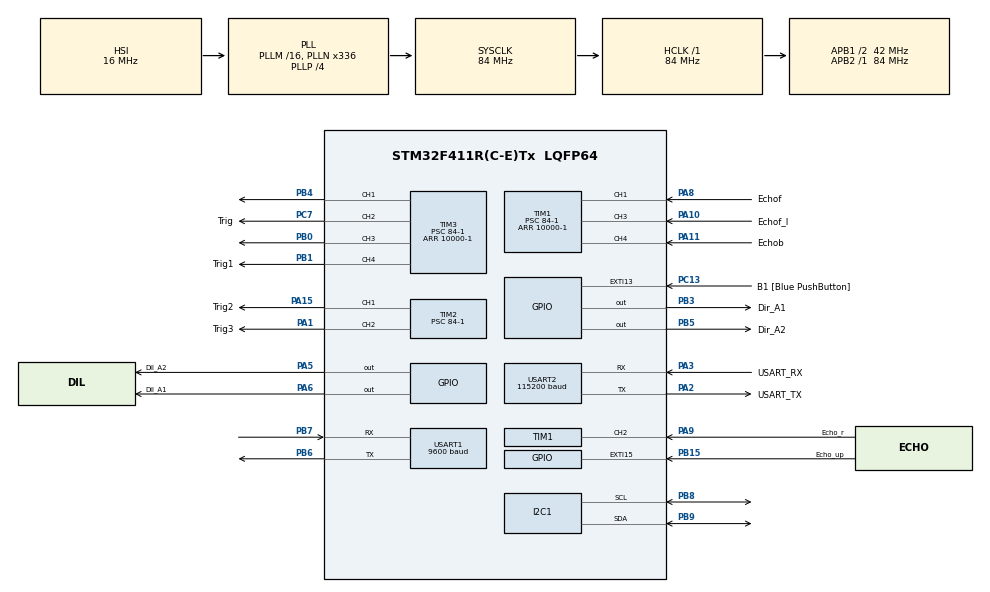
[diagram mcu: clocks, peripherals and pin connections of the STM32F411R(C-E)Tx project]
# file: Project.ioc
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Mcu.Family=STM32F4
Mcu.Name=STM32F411R(C-E)Tx
Mcu.Package=LQFP64
NVIC.EXTI15_10_IRQn=true\:0\:0\:false\:false\:true\:true\:true\:true
NVIC.PriorityGroup=NVIC_PRIORITYGROUP_0
NVIC.TIM1_CC_IRQn=true\:0\:0\:false\:false\:true\:true\:true\:true
NVIC.USART1_IRQn=true\:0\:0\:false\:false\:true\:true\:true\:true
NVIC.USART2_IRQn=true\:0\:0\:false\:false\:true\:true\:true\:true
PA1.GPIO_Label=Trig3
PA1.Signal=S_TIM2_CH2
PA10.GPIO_Label=Echof_l
PA10.Signal=S_TIM1_CH3
PA11.GPIO_Label=Echob
PA11.Signal=S_TIM1_CH4
PA13.GPIO_Label=TMS
PA13.Mode=Serial_Wire
PA13.Signal=SYS_JTMS-SWDIO
PA14.GPIO_Label=TCK
PA14.Mode=Serial_Wire
PA14.Signal=SYS_JTCK-SWCLK
PA15.GPIO_Label=Trig2
PA15.Signal=S_TIM2_CH1_ETR
PA2.GPIO_Label=USART_TX
PA2.Mode=Asynchronous
PA2.Signal=USART2_TX
PA3.GPIO_Label=USART_RX
PA3.Mode=Asynchronous
PA3.Signal=USART2_RX
PA5.GPIO_Label=Dil_A2
PA5.Signal=GPIO_Output
PA6.GPIO_Label=Dil_A1
PA6.Signal=GPIO_Output
PA8.GPIO_Label=Echof
PA8.GPIO_PuPd=GPIO_NOPULL
PA8.Signal=S_TIM1_CH1
PA9.GPIO_Label=Echo_r
PA9.Signal=S_TIM1_CH2
PB0.Signal=S_TIM3_CH3
PB1.GPIO_Label=Trig1
PB1.Signal=S_TIM3_CH4
PB15.GPIO_Label=Echo_up
PB15.Signal=GPXTI15
PB3.GPIO_Label=Dir_A1
PB3.Signal=GPIO_Output
PB4.Signal=S_TIM3_CH1
PB5.GPIO_Label=Dir_A2
PB5.Signal=GPIO_Output
PB6.Mode=Asynchronous
PB6.Signal=USART1_TX
PB7.Mode=Asynchronous
PB7.Signal=USART1_RX
PB8.Mode=I2C
PB8.Signal=I2C1_SCL
PB9.Mode=I2C
PB9.Signal=I2C1_SDA
PC13-ANTI_TAMP.GPIO_Label=B1 [Blue PushButton]
PC13-ANTI_TAMP.GPIO_ModeDefaultEXTI=GPIO_MODE_IT_FALLING
PC13-ANTI_TAMP.Signal=GPXTI13
PC14-OSC32_IN.Mode=LSE-External-Oscillator
PC14-OSC32_IN.Signal=RCC_OSC32_IN
PC15-OSC32_OUT.Mode=LSE-External-Oscillator
PC15-OSC32_OUT.Signal=RCC_OSC32_OUT
PC7.GPIO_Label=Trig
PC7.Signal=S_TIM3_CH2
PH0\ -\ OSC_IN.Mode=HSE-External-Clock-Source
PH0\ -\ OSC_IN.Signal=RCC_OSC_IN
PH1\ -\ OSC_OUT.Mode=HSE-External-Clock-Source
PH1\ -\ OSC_OUT.Signal=RCC_OSC_OUT
ProjectManager.HeapSize=0x200
ProjectManager.StackSize=0x400
ProjectManager.TargetToolchain=STM32CubeIDE
RCC.48MHZClocksFreq_Value=84000000
RCC.AHBFreq_Value=84000000
RCC.APB1CLKDivider=RCC_HCLK_DIV2
RCC.APB1Freq_Value=42000000
RCC.APB1TimFreq_Value=84000000
RCC.APB2Freq_Value=84000000
RCC.APB2TimFreq_Value=84000000
RCC.CortexFreq_Value=84000000
RCC.FLatency-AdvancedSettings=FLASH_LATENCY_2
RCC.HCLKFreq_Value=84000000
RCC.HSE_VALUE=8000000
RCC.HSI_VALUE=16000000
RCC.PLLN=336
RCC.PLLP=RCC_PLLP_DIV4
RCC.SYSCLKFreq_VALUE=84000000
RCC.SYSCLKSource=RCC_SYSCLKSOURCE_PLLCLK
RCC.VCOOutputFreq_Value=336000000
SH.S_TIM1_CH1.0=TIM1_CH1,Input_Capture1_from_TI1
SH.S_TIM1_CH2.0=TIM1_CH2,Input_Capture2_from_TI2
SH.S_TIM1_CH3.0=TIM1_CH3,Input_Capture3_from_TI3
SH.S_TIM1_CH4.0=TIM1_CH4,Input_Capture4_from_TI4
SH.S_TIM2_CH1_ETR.0=TIM2_CH1,PWM Generation1 CH1
SH.S_TIM2_CH2.0=TIM2_CH2,PWM Generation2 CH2
SH.S_TIM3_CH1.0=TIM3_CH1,PWM Generation1 CH1
SH.S_TIM3_CH2.0=TIM3_CH2,PWM Generation2 CH2
SH.S_TIM3_CH3.0=TIM3_CH3,PWM Generation3 CH3
SH.S_TIM3_CH4.0=TIM3_CH4,PWM Generation4 CH4
TIM1.Channel-Input_Capture1_from_TI1=TIM_CHANNEL_1
TIM1.Channel-Input_Capture2_from_TI2=TIM_CHANNEL_2
TIM1.Channel-Input_Capture3_from_TI3=TIM_CHANNEL_3
TIM1.Channel-Input_Capture4_from_TI4=TIM_CHANNEL_4
TIM1.ICPolarity_CH1=TIM_INPUTCHANNELPOLARITY_BOTHEDGE
TIM1.ICPolarity_CH2=TIM_INPUTCHANNELPOLARITY_BOTHEDGE
TIM1.ICPolarity_CH3=TIM_INPUTCHANNELPOLARITY_BOTHEDGE
TIM1.ICPolarity_CH4=TIM_INPUTCHANNELPOLARITY_BOTHEDGE
TIM1.Period=10000-1
TIM1.Prescaler=84-1
TIM2.Channel-PWM\ Generation1\ CH1=TIM_CHANNEL_1
TIM2.Channel-PWM\ Generation2\ CH2=TIM_CHANNEL_2
TIM2.Period=10000-1
TIM2.Prescaler=84-1
TIM2.Pulse-PWM\ Generation1\ CH1=10
TIM2.Pulse-PWM\ Generation2\ CH2=10
TIM3.Channel-PWM\ Generation1\ CH1=TIM_CHANNEL_1
TIM3.Channel-PWM\ Generation2\ CH2=TIM_CHANNEL_2
TIM3.Channel-PWM\ Generation3\ CH3=TIM_CHANNEL_3
TIM3.Channel-PWM\ Generation4\ CH4=TIM_CHANNEL_4
TIM3.Period=10000-1
TIM3.Prescaler=84-1
TIM3.Pulse-PWM\ Generation2\ CH2=10
TIM3.Pulse-PWM\ Generation4\ CH4=10
USART1.BaudRate=9600
USART1.VirtualMode=VM_ASYNC
USART2.BaudRate=115200
USART2.VirtualMode=VM_ASYNC
VP_TIM1_VS_ClockSourceINT.Mode=Internal
VP_TIM2_VS_ClockSourceINT.Mode=Internal
VP_TIM3_VS_ClockSourceINT.Mode=Internal
board=NUCLEO-F411RE

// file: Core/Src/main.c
/* USER CODE BEGIN Header */
/**
  ******************************************************************************
  * @file           : main.c
  * @brief          : Main program body
  ******************************************************************************
  * @attention
  *
  * Copyright (c) 2025 STMicroelectronics.
  * All rights reserved.
  *
  * This software is licensed under terms that can be found in the LICENSE file
  * in the root directory of this software component.
  * If no LICENSE file comes with this software, it is provided AS-IS.
  *
  ******************************************************************************
  */
/* USER CODE END Header */
#include "main.h"

/* USER CODE BEGIN Includes */
//#include <string.h>
//#include <stdlib.h>
/* USER CODE END Includes */

I2C_HandleTypeDef hi2c1;

TIM_HandleTypeDef htim1;
TIM_HandleTypeDef htim2;
TIM_HandleTypeDef htim3;

UART_HandleTypeDef huart1;
UART_HandleTypeDef huart2;

void SystemClock_Config(void);
static void MX_GPIO_Init(void);
static void MX_USART2_UART_Init(void);
static void MX_USART1_UART_Init(void);
static void MX_I2C1_Init(void);
static void MX_TIM1_Init(void);
static void MX_TIM2_Init(void);
static void MX_TIM3_Init(void);

/* USER CODE BEGIN 0 */

//uSonic INTR----------------------------------------------------------------------------------
//int f_1 = 0 , f_2 = 0, f_r1 =0 , f_r2 = 0, f_l1 =0 , f_l2 = 0;
//int b_1 = 0 , b_2 = 0, b_r1 =0 , b_r2 = 0, b_l1 =0 , b_l2 = 0;
//double dist = 0.0, f_rdist = 0.0, f_ldist = 0.0;
//double b_dist = 0.0, stop_dist = 0.0;

uint32_t f_1 = 0, f_2 = 0, f_r1 = 0, f_r2 = 0, f_l1 = 0, f_l2 = 0;
uint32_t b_1 = 0, b_2 = 0, b_r1 = 0, b_r2 = 0, b_l1 = 0, b_l2 = 0;
double dist = 0.0, f_rdist = 0.0, f_ldist = 0.0;
double b_dist = 0.0, b_rdist = 0.0, b_ldist = 0.0;

// 명령 종류 ?���????
typedef enum {
    CMD_NONE,
    CMD_FORWARD,
    CMD_RIGHT,
    CMD_BACKWARD,
    CMD_LEFT
} CommandType;

#define BUF_SIZE 100
#define CMD_QUEUE_SIZE    5
#define SAFE_DISTANCE 10.0

char dum1, dum2;
char buf1[BUF_SIZE], buf2[BUF_SIZE]; // DMA buffer for UART1, UART2

volatile int t1 = 0, t2 = 0;
volatile CommandType currentCommand = CMD_NONE;
volatile uint8_t commandActive = 0;
volatile uint8_t commandStep = 0;
volatile uint32_t commandStartTime = 0;
volatile uint8_t mode = 255; // 255: 미설?��, 1: ?��?��주행, 0: ?���???? 주행
volatile uint8_t onOff = 0;  // 0: OFF, 1: ON

// 🛠 TIM Input Capture 시작 함수 (초음파 센서 측정 시작)
void Start_Ultrasonic_Measurement() {
    HAL_TIM_IC_Start_IT(&htim1, TIM_CHANNEL_1);  // 전방 센서
    HAL_TIM_IC_Start_IT(&htim1, TIM_CHANNEL_2);  // 전방 우측 센서
    HAL_TIM_IC_Start_IT(&htim1, TIM_CHANNEL_3);  // 전방 좌측 센서
    HAL_TIM_IC_Start_IT(&htim1, TIM_CHANNEL_4);  // 후방 센서
}

void ultrasonic_trigger_setup() {
    HAL_TIM_PWM_Start(&htim3, TIM_CHANNEL_2); // 전방 센서 // Trig
    HAL_TIM_PWM_Start(&htim3, TIM_CHANNEL_4); // 전방 우측 센서 // Trig2
    HAL_TIM_PWM_Start(&htim2, TIM_CHANNEL_2); // 전방 좌측 센서 // Trig3
    HAL_TIM_PWM_Start(&htim2, TIM_CHANNEL_1); // 후방 센서 // Trig1
}

//// 🚗 자율 주행 제어 함수
//void auto_drive() {
//    if (dist > SAFE_DISTANCE && f_rdist > SAFE_DISTANCE && f_ldist > SAFE_DISTANCE) {
//        motor_forward();
//    }
//    else if (dist <= SAFE_DISTANCE) {
//        motor_stop(); // 정지
//        if (f_rdist > f_ldist) {
//            motor_right();
//        } else {
//            motor_left();
//        }
//    }
//}

int stuck_counter = 0;

    void auto_motor(){
        float lane_width = f_rdist + f_ldist; // 현재 도로 폭 계산

        if (dist < 10.0 && f_rdist < 10.0 && f_ldist < 10.0) {
            stuck_counter++;

            if (stuck_counter > 2) {
                // 🚗 **후진 후 90도 회전**
                motor_backward();
                HAL_Delay(300);

                if (f_rdist > f_ldist) {
                    motor_right(); // 90도 회전
                } else {
                    motor_left(); // 90도 회전
                }
                HAL_Delay(200);

                // 🚗 **90도 회전 후 일정 거리 전진하여 같은 위치로 돌아가지 않음**
                motor_forward();
                HAL_Delay(300);

                stuck_counter = 0; // 탈출 후 카운터 리셋
            }
        }

        if(mode == 0)
        {
        	commandActive = 0;
        	currentCommand = CMD_NONE;
        }
        if (dist < 10.0) {
            // 장애물 감지 → 후진 후 좌우 비교하여 회피
            motor_backward();
            HAL_Delay(300);

            if (f_rdist > f_ldist) {
                motor_right();
            } else {
                motor_left();
            }
            HAL_Delay(200);

        } else if (dist < 15.0) {
            // 장애물 10~15cm → 더 넓은 쪽으로 회피
            if (f_rdist > f_ldist) {
                motor_right();
            } else {
                motor_left();
            }
            HAL_Delay(200);

        } else {
            // 🚗 **중앙 유지 주행 로직**
            float balance = f_rdist - f_ldist; // 좌우 차이 계산

            if (lane_width < 37.0) {
                // 좁은 구간 (35cm 근처)
                if (balance > 5.0) {
                    motor_right();
                } else if (balance < -5.0) {
                    motor_left();
                } else {
                    motor_forward();
                }
                HAL_Delay(100);

            } else if (lane_width > 43.0) {
                // 넓은 구간 (45cm 근처)
                if (balance > 8.0) {
                    motor_right();
                } else if (balance < -8.0) {
                    motor_left();
                } else {
                    motor_forward();
                }
                HAL_Delay(100);
            } else {
                motor_forward();
            }
        }
        HAL_Delay(100);
    }

void HAL_TIM_IC_CaptureCallback(TIM_HandleTypeDef *htim) {
    if (htim->Instance == TIM1) {  // TIM1 사용
        switch (htim->Channel) {
            case HAL_TIM_ACTIVE_CHANNEL_1:  // 전방 초음파 센서
                if (HAL_GPIO_ReadPin(Echof_GPIO_Port, Echof_Pin) == GPIO_PIN_SET) {
                    f_1 = HAL_TIM_ReadCapturedValue(htim, TIM_CHANNEL_1);
                } else {
                    f_2 = HAL_TIM_ReadCapturedValue(htim, TIM_CHANNEL_1);
                    dist = (f_2 - f_1) * 0.017;
                }
                break;
            case HAL_TIM_ACTIVE_CHANNEL_2:  // 전방 우측 초음파 센서
                if (HAL_GPIO_ReadPin(Echo_r_GPIO_Port, Echo_r_Pin) == GPIO_PIN_SET) {
                    f_r1 = HAL_TIM_ReadCapturedValue(htim, TIM_CHANNEL_2);
                } else {
                    f_r2 = HAL_TIM_ReadCapturedValue(htim, TIM_CHANNEL_2);
                    f_rdist = (f_r2 - f_r1) * 0.017;
                }
                break;
            case HAL_TIM_ACTIVE_CHANNEL_3:  // 전방 좌측 초음파 센서
                if (HAL_GPIO_ReadPin(Echof_l_GPIO_Port, Echof_l_Pin) == GPIO_PIN_SET) {
                    f_l1 = HAL_TIM_ReadCapturedValue(htim, TIM_CHANNEL_3);
                } else {
                    f_l2 = HAL_TIM_ReadCapturedValue(htim, TIM_CHANNEL_3);
                    f_ldist = (f_l2 - f_l1) * 0.017;
                }
                break;
            case HAL_TIM_ACTIVE_CHANNEL_4:  // 후방 초음파 센서
                if (HAL_GPIO_ReadPin(Echob_GPIO_Port, Echob_Pin) == GPIO_PIN_SET) {
                    b_1 = HAL_TIM_ReadCapturedValue(htim, TIM_CHANNEL_4);
                } else {
                    b_2 = HAL_TIM_ReadCapturedValue(htim, TIM_CHANNEL_4);
                    b_dist = (b_2 - b_1) * 0.017;
                }
                break;
        }
    }
}

//void HAL_GPIO_EXTI_Callback(uint16_t GPIO_Pin)
//{
//    switch (GPIO_Pin)
//    {
//        case Echof_Pin:
//            if (HAL_GPIO_ReadPin(Echof_GPIO_Port, Echof_Pin) == 1)
//            {
//                f_1 = htim2.Instance->CNT;
//            }
//            else // Falling Edge
//            {
//                f_2 = htim2.Instance->CNT;
//                dist = (f_2 - f_1) * 0.17;
//                if (dist > 2000) dist = 1800;
//            }
//            break;
//
//        case Echof_r_Pin:
//            if (HAL_GPIO_ReadPin(Echof_r_GPIO_Port, Echof_r_Pin) == 1)
//            {
//                f_r1 = htim2.Instance->CNT;
//            }
//            else // Falling Edge
//            {
//                f_r2 = htim2.Instance->CNT;
//                f_rdist = (f_r2 - f_r1) * 0.17;
//                if (f_rdist > 2000) dist = 1800;
//            }
//            break;
//
//        case Echof_l_Pin:
//            if (HAL_GPIO_ReadPin(Echof_l_GPIO_Port, Echof_l_Pin) == 1)
//            {
//               f_l1 = htim2.Instance->CNT;
//            }
//            else
//            {
//               f_l2 = htim2.Instance->CNT;
//               f_ldist = (f_l2 - f_l1) * 0.17;
//               if (f_ldist > 2000) dist = 1800;
//            }
//            break;
//        case Echob_Pin:
//            if (HAL_GPIO_ReadPin(Echob_GPIO_Port, Echob_Pin) == 1)
//            {
//                b_1 = htim2.Instance->CNT;
//            }
//            else // Falling Edge
//            {
//                b_2 = htim2.Instance->CNT;
//                b_dist = (b_2 - b_1) * 0.17;
//                if (b_dist > 2000) dist = 1800;
//            }
//            break;
//
//        case Echo_up_Pin:
//            if (HAL_GPIO_ReadPin(Echo_up_GPIO_Port, Echo_up_Pin) == 1)
//            {
//                b_l1 = htim2.Instance->CNT;
//            }
//            else
//            {
//                b_l2 = htim2.Instance->CNT;
//                stop_dist = (b_l2 - b_l1) * 0.17;
//                if (stop_dist > 2000) dist = 1800;
//            }
//            break;
//
//       default:
//           break;
//    }
//}
//------------------------------------------------------------------------------------------------------------

// 명령 큐 (원형 큐)
char cmdQueue[CMD_QUEUE_SIZE][BUF_SIZE];
volatile int queueHead = 0, queueTail = 0, queueCount = 0;

// 큐에 명령 추가 (인터럽트 문맥)
void EnqueueCommand(const char* cmd)
{
    if(queueCount < CMD_QUEUE_SIZE)
    {
        strcpy(cmdQueue[queueTail], cmd);
        queueTail = (queueTail + 1) % CMD_QUEUE_SIZE;
        queueCount++;
    }
    // 큐가 꽉 찼을 경우 예외 처리 필요
}

// 큐에서 명령 꺼내기 (메인 루프에서 호출)
int DequeueCommand(char* dest)
{
    if(queueCount > 0)
    {
        strcpy(dest, cmdQueue[queueHead]);
        queueHead = (queueHead + 1) % CMD_QUEUE_SIZE;
        queueCount--;
        return 1;
    }
    return 0;
}

// LCD에 항상 모드 표시
void LCD_UpdateModeStatus(void) {
    LCD_command(0xC0); // LCD의 두 번째 줄
    if (mode == 255) {
        LCD_Print("[Harman]Semicon ");
    } else if (mode == 1) {
        LCD_Print("Mode: Auto      ");
    } else {
        LCD_Print("Mode: Manual    ");
    }
}

// 문자열 앞뒤 공백 제거 함수
char *Trim(const char *s)
{
    while (*s == ' ' || *s == '\t' || *s == '\r' || *s == '\n') s++;
    int tail = strlen(s);
    while (tail > 0 && (s[tail - 1] == ' ' || s[tail - 1] == '\t' || s[tail - 1] == '\r' || s[tail - 1] == '\n')) tail--;

    char *dest = (char *)malloc(tail + 1);
    if (!dest) return NULL;

    strncpy(dest, s, tail);
    dest[tail] = '\0';
    return dest;
}

// 블루투스 명령 처리 함수
void ProcessBluetoothCommand(char input) {
    if (input == 'C' || input == 'c') {
        mode = (input == 'C') ? 1 : 0;
        printf("Mode set to: %s\n\r", (mode == 1) ? "Auto" : "Manual");

        // 1번째 줄에 메시지 출력
//        LCD_Print_With_Clear((mode == 1) ? "Mode: Auto" : "Mode: Manual");
        // 2번째 줄에 현재 모드 유지
        LCD_UpdateModeStatus();
    }
    else if ((input == 'D' || input == 'd') && mode != 255) {
        onOff = (input == 'D') ? 1 : 0;
        printf("System %s\n\r", (onOff == 1) ? "ON" : "OFF");

        // 1번째 줄에 메시지 출력
        LCD_Print_With_Clear((onOff == 1) ? "System: ON" : "System: OFF");
        // 2번째 줄에 현재 모드 유지
        LCD_UpdateModeStatus();
    }
}

void ProcessCommand(char *cmd) {
    char *trimmed = Trim(cmd);
    if (!trimmed) return;
    // 자율주행 모드에서는 입력값을 그대로 사용(대문자 변환하지 않음)
    char *token = strtok(trimmed, "*");
    if(token) {
        if(strcmp(token, "1") == 0)      currentCommand = CMD_FORWARD;
        else if(strcmp(token, "2") == 0) currentCommand = CMD_RIGHT;
        else if(strcmp(token, "3") == 0) currentCommand = CMD_BACKWARD;
        else if(strcmp(token, "4") == 0) currentCommand = CMD_LEFT;
        else currentCommand = CMD_NONE;
    }
    if(currentCommand != CMD_NONE) {
        commandActive = 1;
        commandStep = 0;
        commandStartTime = HAL_GetTick();
    }
    free(trimmed);
}

// 수동 주행
void ManualDrive(char input) {
    if (mode == 0 && onOff == 1) {
        switch (input) {
            case '1':
                printf("Moving FORWARD\n\r");
                LCD_Print_With_Clear("Moving FORWARD");
                motor_forward();
                currentCommand = CMD_FORWARD;
                break;
            case '2':
                printf("Turning RIGHT\n\r");
                LCD_Print_With_Clear("Turning RIGHT");
                motor_right();
                currentCommand = CMD_RIGHT;
                break;
            case '3':
                printf("Moving BACKWARD\n\r");
                LCD_Print_With_Clear("Moving BACKWARD");
                motor_backward();
                currentCommand = CMD_BACKWARD;
                break;
            case '4':
                printf("Turning LEFT\n\r");
                LCD_Print_With_Clear("Turning LEFT");
                motor_left();
                currentCommand = CMD_LEFT;
                break;
            default:
                printf("Invalid manual command\n\r");
                LCD_Print_With_Clear("Invalid Command");
                motor_stop();
                return;
        }
        commandActive = 1;
        commandStartTime = HAL_GetTick();
    }
}

// UART 수신 완료 콜백 함수 (블루투스 명령 추가)
void HAL_UART_RxCpltCallback(UART_HandleTypeDef *huart)
{
    if (huart == &huart1) // Bluetooth UART
    {
        if (dum1 == 'C' || dum1 == 'c' || dum1 == 'D' || dum1 == 'd') {
            ProcessBluetoothCommand(dum1);
        }
        else if (dum1 == '1' || dum1 == '2' || dum1 == '3' || dum1 == '4') {
            ManualDrive(dum1);
        }
        else
        {
            buf1[t1] = dum1;
            if (dum1 == '0') // 명령 종료
            {
                buf1[t1 + 1] = '\0';
                if (onOff && mode == 1) // 자율주행 모드에서만 명령 처리
                {
                    EnqueueCommand(buf1);
                }
                t1 = 0;
            }
            else
            {
                t1++;
                if (t1 >= BUF_SIZE - 1) t1 = 0;
            }
        }

        HAL_UART_Receive_IT(&huart1, &dum1, 1);
    }
    else if (huart == &huart2) // 터미널 입력
    {
        buf2[t2] = dum2;
        HAL_UART_Transmit(&huart2, buf2 + t2, 1, 10);

        if (dum2 == '\r')
        {
            HAL_UART_Transmit(&huart2, "\n", 1, 10);
            buf2[t2 + 1] = '\n';
            HAL_UART_Transmit(&huart1, buf2, t2 + 2, 10);
            t2 = 0;
        }
        else
        {
            t2++;
            if (t2 >= BUF_SIZE - 1) t2 = 0;
        }f
        HAL_UART_Receive_IT(&huart2, &dum2, 1);
    }
}

// 상태 머신 함수: 각 명령별로 단계별 실행
void MAINCommand() {
    if (!commandActive) return;

    uint32_t elapsedTime = HAL_GetTick() - commandStartTime;

    switch (currentCommand) {
        case CMD_FORWARD:
            LCD_Print_With_Clear("Moving FORWARD");
            if (elapsedTime > 1000) {
                printf("Stop FORWARD\n\r");
                LCD_Print_With_Clear("Stop");
                motor_stop();
                commandActive = 0;
                currentCommand = CMD_NONE;
            }
            break;
        case CMD_RIGHT:S
            LCD_Print_With_Clear("Turning RIGHT");
            if (elapsedTime > 500) {
                printf("Stop RIGHT TURN\n\r");
                LCD_Print_With_Clear("Stop");
                motor_stop();
                commandActive = 0;
                currentCommand = CMD_NONE;
            }
            break;
        case CMD_BACKWARD:
            LCD_Print_With_Clear("Moving BACKWARD");
            if (elapsedTime > 1000) {
                printf("Stop BACKWARD\n\r");
                LCD_Print_With_Clear("Stop");
                motor_stop();
                commandActive = 0;
                currentCommand = CMD_NONE;
            }
            break;
        case CMD_LEFT:
            LCD_Print_With_Clear("Turning LEFT");
            if (elapsedTime > 500) {
                printf("Stop LEFT TURN\n\r");
                LCD_Print_With_Clear("Stop");
                motor_stop();
                commandActive = 0;
                currentCommand = CMD_NONE;
            }
            break;
        default:
            commandActive = 0;
            currentCommand = CMD_NONE;
            motor_stop();
            break;
    }
}

//ProgramStart("Timer - PWM : uSonic Trigger 10us control");
//HAL_TIM_Base_Start_IT(&htim2);
//HAL_TIM_PWM_Start(&htim1, TIM_CHANNEL_1); // PWM out

 int dr = 23, dr1 = 23, dr2 = 25, dr3 = 30;
 int dl = 23, dl1 = 23, dl2 = 25, dl3 = 30;

 void motor_forward() // forward
 {
      HAL_GPIO_WritePin(Dir_A1_GPIO_Port, Dir_A1_Pin, 0);
      HAL_GPIO_WritePin(Dir_A2_GPIO_Port, Dir_A2_Pin, 1);
      HAL_GPIO_WritePin(Dil_A1_GPIO_Port, Dil_A1_Pin, 0);
      HAL_GPIO_WritePin(Dil_A2_GPIO_Port, Dil_A2_Pin, 1);

      dr = 30;
      dl = 30;

      htim3.Instance->CCR3 = htim3.Instance->ARR * dl / 100;
     htim3.Instance->CCR1 = htim3.Instance->ARR * dr / 100;
  }

 void motor_backward() // backward
  {
	 //htim3.Instance->CCR1 = 0;

      HAL_GPIO_WritePin(Dir_A1_GPIO_Port, Dir_A1_Pin, 1);
      HAL_GPIO_WritePin(Dir_A2_GPIO_Port, Dir_A2_Pin, 0);
      HAL_GPIO_WritePin(Dil_A1_GPIO_Port, Dil_A1_Pin, 1);
      HAL_GPIO_WritePin(Dil_A2_GPIO_Port, Dil_A2_Pin, 0);

      dr = 30;
      dl = 30;

      htim3.Instance->CCR3 = htim3.Instance->ARR * dr / 100;
     htim3.Instance->CCR1 = htim3.Instance->ARR * dl / 100;
  }

  void motor_right() // right
  {
     HAL_GPIO_WritePin(Dir_A1_GPIO_Port, Dir_A1_Pin, 0);
     HAL_GPIO_WritePin(Dir_A2_GPIO_Port, Dir_A2_Pin, 1);
     HAL_GPIO_WritePin(Dil_A1_GPIO_Port, Dil_A1_Pin, 1);
     HAL_GPIO_WritePin(Dil_A2_GPIO_Port, Dil_A2_Pin, 0);

     dr = 40;
     dl = 20;

      htim3.Instance->CCR3 = htim3.Instance->ARR * dl / 100;
     htim3.Instance->CCR1 = htim3.Instance->ARR * dr / 100;

   //  HAL_Delay(500);
  }

  void motor_left() // left
  {
     HAL_GPIO_WritePin(Dir_A1_GPIO_Port, Dir_A1_Pin, 1);
     HAL_GPIO_WritePin(Dir_A2_GPIO_Port, Dir_A2_Pin, 0);
     HAL_GPIO_WritePin(Dil_A1_GPIO_Port, Dil_A1_Pin, 0);
     HAL_GPIO_WritePin(Dil_A2_GPIO_Port, Dil_A2_Pin, 1);

     dr = 20;
     dl = 40;

      htim3.Instance->CCR3 = htim3.Instance->ARR * dl / 100;
     htim3.Instance->CCR1 = htim3.Instance->ARR * dr / 100;

   //  HAL_Delay(500);
  }

  void motor_stop() // stop
  {
     dr = 1;
     dl = 1;
      htim3.Instance->CCR3 = htim3.Instance->ARR * dl / 100;
     htim3.Instance->CCR1 = htim3.Instance->ARR * dr / 100;
    //  HAL_Delay(100);
  }

/* USER CODE END 0 */

int main(void)
{

  /* MCU Configuration--------------------------------------------------------*/

  /* Reset of all peripherals, Initializes the Flash interface and the Systick. */
  HAL_Init();

  /* Configure the system clock */
  SystemClock_Config();

  /* Initialize all configured peripherals */
  MX_GPIO_Init();
  MX_USART2_UART_Init();
  MX_USART1_UART_Init();
  MX_I2C1_Init();
  MX_TIM1_Init();
  MX_TIM2_Init();
  MX_TIM3_Init();
  /* USER CODE BEGIN 2 */
  ProgramStart("Code Test");
  i2c_init(&hi2c1); i2c_scan();
  LCD_init();
  printf("Waiting for mode select (C/c)...\n\r");
  HAL_TIM_PWM_Start(&htim3, TIM_CHANNEL_1); // motor PWM
  HAL_TIM_PWM_Start(&htim3, TIM_CHANNEL_3); // motor PWM
  HAL_UART_Receive_IT(&huart1, &dum1, 1); // bluetooth usart
  HAL_UART_Receive_IT(&huart2, &dum2, 1); // putty usart
  Start_Ultrasonic_Measurement(); // ultrasonic echo
  ultrasonic_trigger_setup(); // ultrasonic trigger
//  char command[BUF_SIZE];
  /* USER CODE END 2 */

  /* Infinite loop */
  /* USER CODE BEGIN WHILE */
  char command[BUF_SIZE];
  while (1)
    {

  	   if (onOff) // 시스템이 ON 상태일 때만 동작
        {
            if (mode == 1) { // 자율주행 모드
//                if (!commandActive) {
//                    if (DequeueCommand(command)) {
//                        ProcessCommand(command);
////                    	auto_drive();
//                    }
//                }
//                if (commandActive) {
////              	  MAINCommand();
//                	auto_drive();
//                }
            	//auto_drive();
            	auto_motor();
            }
            else if (mode == 0) { // 수동 주행 모드
                // 수동 모드의 명령은 UART 콜백에서 ManualDrive()로 바로 설정됨.
                if (commandActive) {
              	  MAINCommand();
                }
            }
        }
        else { // 시스템 OFF 상태면 모든 동작 정지
            commandActive = 0;
            currentCommand = CMD_NONE;
        }
  	   // 현재 모드 상태를 지속적으로 LCD에 업데이트
  	       LCD_UpdateModeStatus();
  	       printf("Distance : front: %fcm front_right: %fcm front_left: %fcm back: %fcm\r\n", dist, f_rdist, f_ldist, b_dist);
  	       HAL_Delay(100); // 0.5초마다 LCD 상태 갱신
    /* USER CODE END WHILE */

    }
}

void SystemClock_Config(void)
{
  RCC_OscInitTypeDef RCC_OscInitStruct = {0};
  RCC_ClkInitTypeDef RCC_ClkInitStruct = {0};

  /** Configure the main internal regulator output voltage
  */
  __HAL_RCC_PWR_CLK_ENABLE();
  __HAL_PWR_VOLTAGESCALING_CONFIG(PWR_REGULATOR_VOLTAGE_SCALE1);

  /** Initializes the RCC Oscillators according to the specified parameters
  * in the RCC_OscInitTypeDef structure.
  */
  RCC_OscInitStruct.OscillatorType = RCC_OSCILLATORTYPE_HSI;
  RCC_OscInitStruct.HSIState = RCC_HSI_ON;
  RCC_OscInitStruct.HSICalibrationValue = RCC_HSICALIBRATION_DEFAULT;
  RCC_OscInitStruct.PLL.PLLState = RCC_PLL_ON;
  RCC_OscInitStruct.PLL.PLLSource = RCC_PLLSOURCE_HSI;
  RCC_OscInitStruct.PLL.PLLM = 16;
  RCC_OscInitStruct.PLL.PLLN = 336;
  RCC_OscInitStruct.PLL.PLLP = RCC_PLLP_DIV4;
  RCC_OscInitStruct.PLL.PLLQ = 4;
  if (HAL_RCC_OscConfig(&RCC_OscInitStruct) != HAL_OK)
  {
    Error_Handler();
  }

  /** Initializes the CPU, AHB and APB buses clocks
  */
  RCC_ClkInitStruct.ClockType = RCC_CLOCKTYPE_HCLK|RCC_CLOCKTYPE_SYSCLK
                              |RCC_CLOCKTYPE_PCLK1|RCC_CLOCKTYPE_PCLK2;
  RCC_ClkInitStruct.SYSCLKSource = RCC_SYSCLKSOURCE_PLLCLK;
  RCC_ClkInitStruct.AHBCLKDivider = RCC_SYSCLK_DIV1;
  RCC_ClkInitStruct.APB1CLKDivider = RCC_HCLK_DIV2;
  RCC_ClkInitStruct.APB2CLKDivider = RCC_HCLK_DIV1;

  if (HAL_RCC_ClockConfig(&RCC_ClkInitStruct, FLASH_LATENCY_2) != HAL_OK)
  {
    Error_Handler();
  }
}

static void MX_I2C1_Init(void)
{

  hi2c1.Instance = I2C1;
  hi2c1.Init.ClockSpeed = 100000;
  hi2c1.Init.DutyCycle = I2C_DUTYCYCLE_2;
  hi2c1.Init.OwnAddress1 = 0;
  hi2c1.Init.AddressingMode = I2C_ADDRESSINGMODE_7BIT;
  hi2c1.Init.DualAddressMode = I2C_DUALADDRESS_DISABLE;
  hi2c1.Init.OwnAddress2 = 0;
  hi2c1.Init.GeneralCallMode = I2C_GENERALCALL_DISABLE;
  hi2c1.Init.NoStretchMode = I2C_NOSTRETCH_DISABLE;
  if (HAL_I2C_Init(&hi2c1) != HAL_OK)
  {
    Error_Handler();
  }

}

static void MX_TIM1_Init(void)
{

  TIM_ClockConfigTypeDef sClockSourceConfig = {0};
  TIM_MasterConfigTypeDef sMasterConfig = {0};
  TIM_IC_InitTypeDef sConfigIC = {0};

  htim1.Instance = TIM1;
  htim1.Init.Prescaler = 84-1;
  htim1.Init.CounterMode = TIM_COUNTERMODE_UP;
  htim1.Init.Period = 10000-1;
  htim1.Init.ClockDivision = TIM_CLOCKDIVISION_DIV1;
  htim1.Init.RepetitionCounter = 0;
  htim1.Init.AutoReloadPreload = TIM_AUTORELOAD_PRELOAD_DISABLE;
  if (HAL_TIM_Base_Init(&htim1) != HAL_OK)
  {
    Error_Handler();
  }
  sClockSourceConfig.ClockSource = TIM_CLOCKSOURCE_INTERNAL;
  if (HAL_TIM_ConfigClockSource(&htim1, &sClockSourceConfig) != HAL_OK)
  {
    Error_Handler();
  }
  if (HAL_TIM_IC_Init(&htim1) != HAL_OK)
  {
    Error_Handler();
  }
  sMasterConfig.MasterOutputTrigger = TIM_TRGO_RESET;
  sMasterConfig.MasterSlaveMode = TIM_MASTERSLAVEMODE_DISABLE;
  if (HAL_TIMEx_MasterConfigSynchronization(&htim1, &sMasterConfig) != HAL_OK)
  {
    Error_Handler();
  }
  sConfigIC.ICPolarity = TIM_INPUTCHANNELPOLARITY_BOTHEDGE;
  sConfigIC.ICSelection = TIM_ICSELECTION_DIRECTTI;
  sConfigIC.ICPrescaler = TIM_ICPSC_DIV1;
  sConfigIC.ICFilter = 0;
  if (HAL_TIM_IC_ConfigChannel(&htim1, &sConfigIC, TIM_CHANNEL_1) != HAL_OK)
  {
    Error_Handler();
  }
  if (HAL_TIM_IC_ConfigChannel(&htim1, &sConfigIC, TIM_CHANNEL_2) != HAL_OK)
  {
    Error_Handler();
  }
  if (HAL_TIM_IC_ConfigChannel(&htim1, &sConfigIC, TIM_CHANNEL_3) != HAL_OK)
  {
    Error_Handler();
  }
  if (HAL_TIM_IC_ConfigChannel(&htim1, &sConfigIC, TIM_CHANNEL_4) != HAL_OK)
  {
    Error_Handler();
  }

}

static void MX_TIM2_Init(void)
{

  TIM_ClockConfigTypeDef sClockSourceConfig = {0};
  TIM_MasterConfigTypeDef sMasterConfig = {0};
  TIM_OC_InitTypeDef sConfigOC = {0};

  htim2.Instance = TIM2;
  htim2.Init.Prescaler = 84-1;
  htim2.Init.CounterMode = TIM_COUNTERMODE_UP;
  htim2.Init.Period = 10000-1;
  htim2.Init.ClockDivision = TIM_CLOCKDIVISION_DIV1;
  htim2.Init.AutoReloadPreload = TIM_AUTORELOAD_PRELOAD_DISABLE;
  if (HAL_TIM_Base_Init(&htim2) != HAL_OK)
  {
    Error_Handler();
  }
  sClockSourceConfig.ClockSource = TIM_CLOCKSOURCE_INTERNAL;
  if (HAL_TIM_ConfigClockSource(&htim2, &sClockSourceConfig) != HAL_OK)
  {
    Error_Handler();
  }
  if (HAL_TIM_PWM_Init(&htim2) != HAL_OK)
  {
    Error_Handler();
  }
  sMasterConfig.MasterOutputTrigger = TIM_TRGO_RESET;
  sMasterConfig.MasterSlaveMode = TIM_MASTERSLAVEMODE_DISABLE;
  if (HAL_TIMEx_MasterConfigSynchronization(&htim2, &sMasterConfig) != HAL_OK)
  {
    Error_Handler();
  }
  sConfigOC.OCMode = TIM_OCMODE_PWM1;
  sConfigOC.Pulse = 10;
  sConfigOC.OCPolarity = TIM_OCPOLARITY_HIGH;
  sConfigOC.OCFastMode = TIM_OCFAST_DISABLE;
  if (HAL_TIM_PWM_ConfigChannel(&htim2, &sConfigOC, TIM_CHANNEL_1) != HAL_OK)
  {
    Error_Handler();
  }
  if (HAL_TIM_PWM_ConfigChannel(&htim2, &sConfigOC, TIM_CHANNEL_2) != HAL_OK)
  {
    Error_Handler();
  }
  HAL_TIM_MspPostInit(&htim2);

}

static void MX_TIM3_Init(void)
{

  TIM_ClockConfigTypeDef sClockSourceConfig = {0};
  TIM_MasterConfigTypeDef sMasterConfig = {0};
  TIM_OC_InitTypeDef sConfigOC = {0};

  htim3.Instance = TIM3;
  htim3.Init.Prescaler = 84-1;
  htim3.Init.CounterMode = TIM_COUNTERMODE_UP;
  htim3.Init.Period = 10000-1;
  htim3.Init.ClockDivision = TIM_CLOCKDIVISION_DIV1;
  htim3.Init.AutoReloadPreload = TIM_AUTORELOAD_PRELOAD_DISABLE;
  if (HAL_TIM_Base_Init(&htim3) != HAL_OK)
  {
    Error_Handler();
  }
  sClockSourceConfig.ClockSource = TIM_CLOCKSOURCE_INTERNAL;
  if (HAL_TIM_ConfigClockSource(&htim3, &sClockSourceConfig) != HAL_OK)
  {
    Error_Handler();
  }
  if (HAL_TIM_PWM_Init(&htim3) != HAL_OK)
  {
    Error_Handler();
  }
  sMasterConfig.MasterOutputTrigger = TIM_TRGO_RESET;
  sMasterConfig.MasterSlaveMode = TIM_MASTERSLAVEMODE_DISABLE;
  if (HAL_TIMEx_MasterConfigSynchronization(&htim3, &sMasterConfig) != HAL_OK)
  {
    Error_Handler();
  }
  sConfigOC.OCMode = TIM_OCMODE_PWM1;
  sConfigOC.Pulse = 0;
  sConfigOC.OCPolarity = TIM_OCPOLARITY_HIGH;
  sConfigOC.OCFastMode = TIM_OCFAST_DISABLE;
  if (HAL_TIM_PWM_ConfigChannel(&htim3, &sConfigOC, TIM_CHANNEL_1) != HAL_OK)
  {
    Error_Handler();
  }
  sConfigOC.Pulse = 10;
  if (HAL_TIM_PWM_ConfigChannel(&htim3, &sConfigOC, TIM_CHANNEL_2) != HAL_OK)
  {
    Error_Handler();
  }
  sConfigOC.Pulse = 0;
  if (HAL_TIM_PWM_ConfigChannel(&htim3, &sConfigOC, TIM_CHANNEL_3) != HAL_OK)
  {
    Error_Handler();
  }
  sConfigOC.Pulse = 10;
  if (HAL_TIM_PWM_ConfigChannel(&htim3, &sConfigOC, TIM_CHANNEL_4) != HAL_OK)
  {
    Error_Handler();
  }
  HAL_TIM_MspPostInit(&htim3);

}

static void MX_USART1_UART_Init(void)
{

  huart1.Instance = USART1;
  huart1.Init.BaudRate = 9600;
  huart1.Init.WordLength = UART_WORDLENGTH_8B;
  huart1.Init.StopBits = UART_STOPBITS_1;
  huart1.Init.Parity = UART_PARITY_NONE;
  huart1.Init.Mode = UART_MODE_TX_RX;
  huart1.Init.HwFlowCtl = UART_HWCONTROL_NONE;
  huart1.Init.OverSampling = UART_OVERSAMPLING_16;
  if (HAL_UART_Init(&huart1) != HAL_OK)
  {
    Error_Handler();
  }

}

static void MX_USART2_UART_Init(void)
{

  huart2.Instance = USART2;
  huart2.Init.BaudRate = 115200;
  huart2.Init.WordLength = UART_WORDLENGTH_8B;
  huart2.Init.StopBits = UART_STOPBITS_1;
  huart2.Init.Parity = UART_PARITY_NONE;
  huart2.Init.Mode = UART_MODE_TX_RX;
  huart2.Init.HwFlowCtl = UART_HWCONTROL_NONE;
  huart2.Init.OverSampling = UART_OVERSAMPLING_16;
  if (HAL_UART_Init(&huart2) != HAL_OK)
  {
    Error_Handler();
  }

}

static void MX_GPIO_Init(void)
{
  GPIO_InitTypeDef GPIO_InitStruct = {0};

  /* GPIO Ports Clock Enable */
  __HAL_RCC_GPIOC_CLK_ENABLE();
  __HAL_RCC_GPIOH_CLK_ENABLE();
  __HAL_RCC_GPIOA_CLK_ENABLE();
  __HAL_RCC_GPIOB_CLK_ENABLE();

  /*Configure GPIO pin Output Level */
  HAL_GPIO_WritePin(GPIOA, Dil_A2_Pin|Dil_A1_Pin, GPIO_PIN_RESET);

  /*Configure GPIO pin Output Level */
  HAL_GPIO_WritePin(GPIOB, Dir_A1_Pin|Dir_A2_Pin, GPIO_PIN_RESET);

  /*Configure GPIO pin : B1_Pin */
  GPIO_InitStruct.Pin = B1_Pin;
  GPIO_InitStruct.Mode = GPIO_MODE_IT_FALLING;
  GPIO_InitStruct.Pull = GPIO_NOPULL;
  HAL_GPIO_Init(B1_GPIO_Port, &GPIO_InitStruct);

  /*Configure GPIO pins : Dil_A2_Pin Dil_A1_Pin */
  GPIO_InitStruct.Pin = Dil_A2_Pin|Dil_A1_Pin;
  GPIO_InitStruct.Mode = GPIO_MODE_OUTPUT_PP;
  GPIO_InitStruct.Pull = GPIO_NOPULL;
  GPIO_InitStruct.Speed = GPIO_SPEED_FREQ_LOW;
  HAL_GPIO_Init(GPIOA, &GPIO_InitStruct);

  /*Configure GPIO pin : Echo_up_Pin */
  GPIO_InitStruct.Pin = Echo_up_Pin;
  GPIO_InitStruct.Mode = GPIO_MODE_IT_RISING;
  GPIO_InitStruct.Pull = GPIO_NOPULL;
  HAL_GPIO_Init(Echo_up_GPIO_Port, &GPIO_InitStruct);

  /*Configure GPIO pins : Dir_A1_Pin Dir_A2_Pin */
  GPIO_InitStruct.Pin = Dir_A1_Pin|Dir_A2_Pin;
  GPIO_InitStruct.Mode = GPIO_MODE_OUTPUT_PP;
  GPIO_InitStruct.Pull = GPIO_NOPULL;
  GPIO_InitStruct.Speed = GPIO_SPEED_FREQ_LOW;
  HAL_GPIO_Init(GPIOB, &GPIO_InitStruct);

  /* EXTI interrupt init*/
  HAL_NVIC_SetPriority(EXTI15_10_IRQn, 0, 0);
  HAL_NVIC_EnableIRQ(EXTI15_10_IRQn);

}

void Error_Handler(void)
{
  __disable_irq();
  while (1)
  {
  }
}
